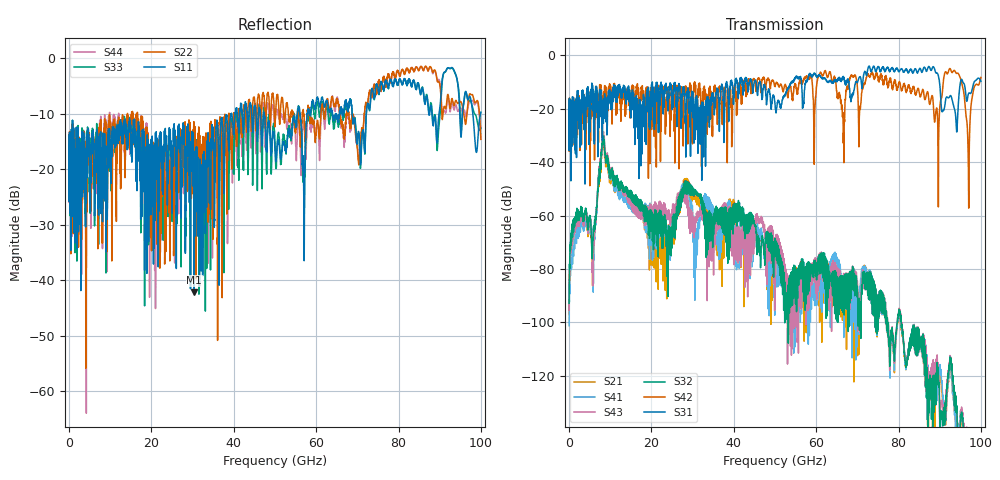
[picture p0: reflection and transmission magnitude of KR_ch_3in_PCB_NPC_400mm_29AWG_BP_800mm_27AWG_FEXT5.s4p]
! Created Fri Mar  3 09:05:05 2023
# ghz S ma R 45
! 4 Port Network Data from SP1.SP block
! freq  magS11  angS11  magS12  angS12  magS13  angS13  magS14  angS14
!  magS21  angS21  magS22  angS22  magS23  angS23  magS24  angS24
!  magS31  angS31  magS32  angS32  magS33  angS33  magS34  angS34
!  magS41  angS41  magS42  angS42  magS43  angS43  magS44  angS44
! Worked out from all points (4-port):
!   4000 points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, 25 MHz to 100 GHz, reference 45 ohm
!   strongest paths, dB at 25 MHz, 25.02 GHz, 50.02 GHz, 75.03 GHz, 100 GHz:
!     S31: -20.1, -19.9, -18.3, -4.2, -9.7
!     S42: -20.2, -11.7, -11.7, -8.4, -8.3
!     S32: -92.9, -68.5, -68.7, -101.8, -159.5
!     S43: -95.4, -59.5, -68.6, -101.4, -166.7
!     S41: -101.3, -63.8, -74.5, -102.6, -170.7
!     S21: -97.0, -64.6, -71.5, -102.9, -170.3
!   lowest |S11| = -42.2 dB at 30.4 GHz (marker M1), VSWR 1.02, Z = 45.5 + j0.474 ohm
!   |S11| at or under -10 dB: start of sweep to 39.35 GHz; 47.41 GHz to 55.46 GHz (8.052 GHz wide, 15.7 % of centre); 68.74 GHz to 72.19 GHz (3.452 GHz wide, 4.9 % of centre)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
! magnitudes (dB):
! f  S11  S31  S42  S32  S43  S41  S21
! 25 MHz  -15.7  -20.1  -20.2  -92.9  -95.4  -101.3  -97.0
! 6 GHz  -15.4  -32.1  -28.7  -64.4  -70.3  -76.7  -70.2
! 8.3 GHz  -18.4  -24.7  -21.4  -30.4  -28.9  -30.3  -32.0
! 23.27 GHz  -15.7  -13.6  -16.7  -61.1  -55.9  -59.5  -68.1
! 30.4 GHz  -42.2  -25.4  -12.6  -50.9  -63.5  -66.5  -53.2
! 96.92 GHz  -7.4  -14.7  -38.1  -147.3  -146.6  -153.7  -149.1
! 100 GHz  -9.7  -9.7  -8.3  -159.5  -166.7  -170.7  -170.3
